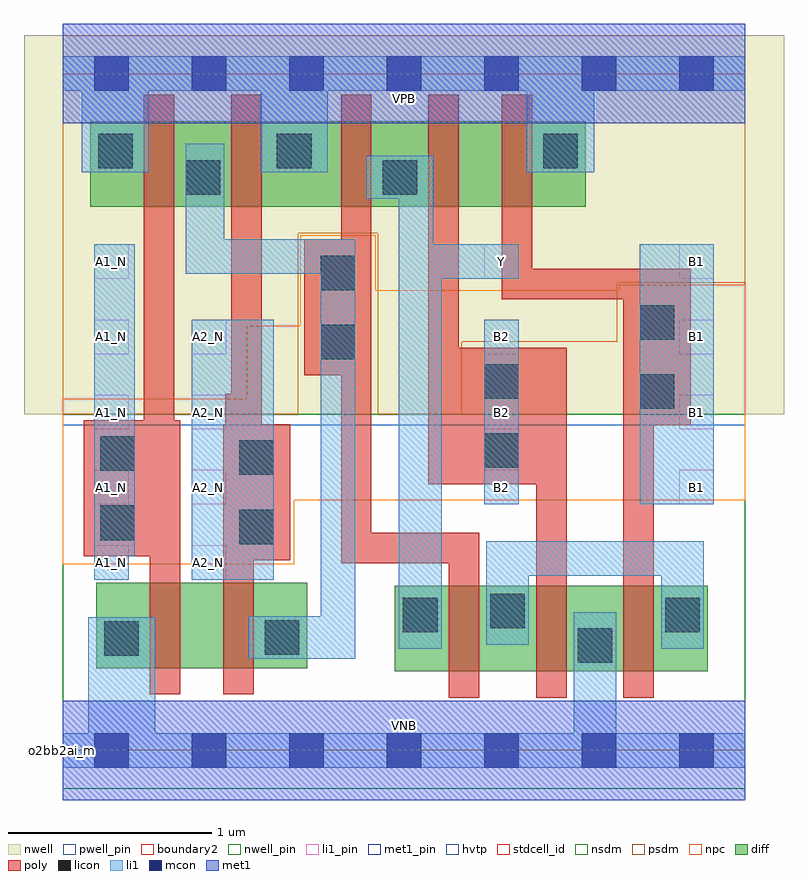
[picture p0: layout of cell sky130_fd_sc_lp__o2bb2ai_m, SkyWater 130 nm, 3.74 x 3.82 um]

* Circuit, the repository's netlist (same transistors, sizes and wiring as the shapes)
* Copyright 2020 The SkyWater PDK Authors
*
* Licensed under the Apache License, Version 2.0 (the "License");
* you may not use this file except in compliance with the License.
* You may obtain a copy of the License at
*
*     https://www.apache.org/licenses/LICENSE-2.0
*
* Unless required by applicable law or agreed to in writing, software
* distributed under the License is distributed on an "AS IS" BASIS,
* WITHOUT WARRANTIES OR CONDITIONS OF ANY KIND, either express or implied.
* See the License for the specific language governing permissions and
* limitations under the License.
*
* SPDX-License-Identifier: Apache-2.0

.SUBCKT sky130_fd_sc_lp__o2bb2ai_m A1_N A2_N B1 B2 VGND VNB VPB VPWR Y
*.PININFO A1_N:I A2_N:I B1:I B2:I VGND:I VNB:I VPB:I VPWR:I Y:O
MMNnand0 VGND A1_N sndNA1N VNB sky130_fd_pr__nfet_01v8 m=1 w=0.42U l=0.15U mult=1
+ sa=0.265 sb=0.265 sd=0.28 area=0.063 perim=1.14
MMNnand1 sndNA1N A2_N inand VNB sky130_fd_pr__nfet_01v8 m=1 w=0.42U l=0.15U mult=1
+ sa=0.265 sb=0.265 sd=0.28 area=0.063 perim=1.14
MMNaoi10 nmid B1 VGND VNB sky130_fd_pr__nfet_01v8 m=1 w=0.42U l=0.15U mult=1 sa=0.265
+ sb=0.265 sd=0.28 area=0.063 perim=1.14
MMNaoi11 nmid B2 VGND VNB sky130_fd_pr__nfet_01v8 m=1 w=0.42U l=0.15U mult=1 sa=0.265
+ sb=0.265 sd=0.28 area=0.063 perim=1.14
MMNaoi20 Y inand nmid VNB sky130_fd_pr__nfet_01v8 m=1 w=0.42U l=0.15U mult=1 sa=0.265
+ sb=0.265 sd=0.28 area=0.063 perim=1.14
MMPnand0 inand A1_N VPWR VPB sky130_fd_pr__pfet_01v8_hvt m=1 w=0.42U l=0.15U mult=1
+ sa=0.265 sb=0.265 sd=0.28 area=0.063 perim=1.14
MMPnand1 inand A2_N VPWR VPB sky130_fd_pr__pfet_01v8_hvt m=1 w=0.42U l=0.15U mult=1
+ sa=0.265 sb=0.265 sd=0.28 area=0.063 perim=1.14
MMPaoi10 VPWR B1 sndPB1 VPB sky130_fd_pr__pfet_01v8_hvt m=1 w=0.42U l=0.15U mult=1
+ sa=0.265 sb=0.265 sd=0.28 area=0.063 perim=1.14
MMPaoi11 sndPB1 B2 Y VPB sky130_fd_pr__pfet_01v8_hvt m=1 w=0.42U l=0.15U mult=1
+ sa=0.265 sb=0.265 sd=0.28 area=0.063 perim=1.14
MMPaoi20 Y inand VPWR VPB sky130_fd_pr__pfet_01v8_hvt m=1 w=0.42U l=0.15U mult=1
+ sa=0.265 sb=0.265 sd=0.28 area=0.063 perim=1.14
.ENDS sky130_fd_sc_lp__o2bb2ai_m

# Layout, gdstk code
import gdstk
lib = gdstk.Library(unit=1e-6, precision=1e-09)
def R(c, l, rs):  # rectangles x0, y0, x1, y1
    for r in rs: c.add(gdstk.rectangle(r[:2], r[2:], *l))
def A(c, l, x, y, w, h, nx, ny, dx, dy):  # array of equal rectangles
    R(c, l, [(x+i*dx, y+j*dy, x+i*dx+w, y+j*dy+h) for i in range(nx) for j in range(ny)])
def P(c, l, *ps):  # polygons
    for p in ps: c.add(gdstk.Polygon(p, *l))
nwell_pin = (64, 16)
nwell = (64, 20)
diff = (65, 20)
poly = (66, 20)
licon = (66, 44)
li1_pin = (67, 16)
li1 = (67, 20)
mcon = (67, 44)
met1_pin = (68, 16)
met1 = (68, 20)
hvtp = (78, 44)
stdcell_id = (81, 4)
nsdm = (93, 44)
psdm = (94, 20)
npc = (95, 20)
pwell_pin = (122, 16)
boundary2 = (236, 0)

sky130_fd_sc_lp__o2bb2ai = lib.new_cell('sky130_fd_sc_lp__o2bb2ai_m')
R(sky130_fd_sc_lp__o2bb2ai, nwell_pin, [(0,3.085,3.36,3.33)])
R(sky130_fd_sc_lp__o2bb2ai, nwell, [(-0.19,1.655,3.55,3.52)])
R(sky130_fd_sc_lp__o2bb2ai, diff, [(1.635,0.39,3.175,0.81), (0.165,0.405,1.205,0.825), (0.135,2.675,2.575,3.095)])
P(sky130_fd_sc_lp__o2bb2ai, poly, [(0.58,1.625),(0.55,1.625),(0.55,3.225),(0.4,3.225),(0.4,1.625),(0.105,1.625),(0.105,0.955),(0.43,0.955),(0.43,0.275),(0.58,0.275)],
  [(1.12,1.605),(0.98,1.605),(0.98,3.225),(0.83,3.225),(0.83,1.755),(0.8,1.755),(0.8,1.605),(0.79,1.605),(0.79,0.275),(0.94,0.275),(0.94,0.935),(1.12,0.935)],
  [(2.05,1.07),(1.52,1.07),(1.52,3.225),(1.37,3.225),(1.37,2.515),(1.19,2.515),(1.19,1.845),(1.37,1.845),(1.37,0.92),(1.9,0.92),(1.9,0.26),(2.05,0.26)],
  [(2.48,1.98),(1.95,1.98),(1.95,3.225),(1.8,3.225),(1.8,1.31),(2.33,1.31),(2.33,0.26),(2.48,0.26)],
  [(3.09,2.37),(2.31,2.37),(2.31,3.225),(2.16,3.225),(2.16,2.22),(2.76,2.22),(2.76,0.26),(2.91,0.26),(2.91,1.6),(3.09,1.6)])
R(sky130_fd_sc_lp__o2bb2ai, licon, [(2.535,0.43,2.705,0.6), (0.205,0.465,0.375,0.635), (0.995,0.47,1.165,0.64), (1.675,0.58,1.845,0.75), (2.965,0.58,3.135,0.75), (2.105,0.6,2.275,0.77), (0.87,1.015,1.04,1.185), (0.185,1.035,0.355,1.205), (0.87,1.355,1.04,1.525), (0.185,1.375,0.355,1.545), (2.075,1.39,2.245,1.56), (2.84,1.68,3.01,1.85), (2.075,1.73,2.245,1.9), (1.27,1.925,1.44,2.095), (2.84,2.02,3.01,2.19), (1.27,2.265,1.44,2.435), (0.605,2.735,0.775,2.905), (1.575,2.735,1.745,2.905), (0.175,2.865,0.345,3.035), (1.055,2.865,1.225,3.035), (2.365,2.865,2.535,3.035)])
A(sky130_fd_sc_lp__o2bb2ai, li1_pin, 0.155, 0.84, 0.17, 0.17, 1, 5, 0, 0.37)
A(sky130_fd_sc_lp__o2bb2ai, li1_pin, 0.635, 0.84, 0.17, 0.17, 1, 4, 0, 0.37)
A(sky130_fd_sc_lp__o2bb2ai, li1_pin, 2.075, 1.21, 0.17, 0.17, 1, 4, 0, 0.37)
A(sky130_fd_sc_lp__o2bb2ai, li1_pin, 3.035, 1.21, 0.17, 0.17, 1, 4, 0, 0.37)
R(sky130_fd_sc_lp__o2bb2ai, li1, [(0.635,0.84,1.04,2.12), (2.075,1.21,2.245,2.12), (2.84,1.21,3.205,2.49)])
P(sky130_fd_sc_lp__o2bb2ai, li1, [(2.285,2.845),(2.285,3.245),(1.305,3.245),(1.305,2.845),(0.975,2.845),(0.975,3.245),(0.425,3.245),(0.425,2.845),(0.095,2.845),(0.095,3.245),(0,3.245),(0,3.415),(3.36,3.415),(3.36,3.245),(2.615,3.245),(2.615,2.845)],
  [(0.125,0.085),(0.125,0.655),(0.455,0.655),(0.455,0.085),(2.515,0.085),(2.515,0.68),(2.725,0.68),(2.725,0.085),(3.36,0.085),(3.36,-0.085),(0,-0.085),(0,0.085)],
  [(0.605,2.985),(0.795,2.985),(0.795,2.515),(1.44,2.515),(1.44,0.45),(0.915,0.45),(0.915,0.66),(1.27,0.66),(1.27,2.345),(0.605,2.345)],
  [(1.655,2.715),(1.495,2.715),(1.495,2.925),(1.825,2.925),(1.825,2.49),(2.245,2.49),(2.245,2.32),(1.865,2.32),(1.865,0.5),(1.655,0.5)],
  [(2.945,0.5),(2.945,0.86),(2.295,0.86),(2.295,0.52),(2.085,0.52),(2.085,1.03),(3.155,1.03),(3.155,0.5)],
  [(0.155,0.84),(0.155,2.49),(0.355,2.49),(0.355,0.955),(0.325,0.955),(0.325,0.84)])
A(sky130_fd_sc_lp__o2bb2ai, mcon, 0.155, -0.085, 0.17, 0.17, 7, 2, 0.48, 3.33)
R(sky130_fd_sc_lp__o2bb2ai, met1_pin, [(0,0,3.36,0.245), (0,3.085,3.36,3.33)])
R(sky130_fd_sc_lp__o2bb2ai, met1, [(0,-0.245,3.36,0.245), (0,3.085,3.36,3.575)])
R(sky130_fd_sc_lp__o2bb2ai, hvtp, [(0,1.6,3.36,3.33)])
R(sky130_fd_sc_lp__o2bb2ai, stdcell_id, [(0,0,3.36,3.33)])
R(sky130_fd_sc_lp__o2bb2ai, nsdm, [(0,-0.19,3.36,1.655)])
P(sky130_fd_sc_lp__o2bb2ai, psdm, [(3.36,3.52),(0,3.52),(0,1.655),(1.16,1.655),(1.16,2.545),(1.55,2.545),(1.55,1.655),(1.965,1.655),(1.965,2.01),(2.73,2.01),(2.73,2.3),(3.36,2.3)])
P(sky130_fd_sc_lp__o2bb2ai, npc, [(3.36,2.29),(2.74,2.29),(2.74,2.265),(1.54,2.265),(1.54,2.535),(1.17,2.535),(1.17,2.09),(0.905,2.09),(0.905,1.73),(0,1.73),(0,0.915),(1.14,0.915),(1.14,1.23),(3.36,1.23)])
R(sky130_fd_sc_lp__o2bb2ai, pwell_pin, [(0,0,3.36,0.245)])
R(sky130_fd_sc_lp__o2bb2ai, boundary2, [(0,0,3.36,3.33)])
sky130_fd_sc_lp__o2bb2ai.add(gdstk.Label('VNB', (1.68,0.123), layer=64, texttype=59))
sky130_fd_sc_lp__o2bb2ai.add(gdstk.Label('VPB', (1.68,3.208), layer=64, texttype=5))
sky130_fd_sc_lp__o2bb2ai.add(gdstk.Label('o2bb2ai_m', (0,0), layer=83, texttype=44))
sky130_fd_sc_lp__o2bb2ai.add(gdstk.Label('VPWR', (1.68,3.208), layer=68, texttype=5))
sky130_fd_sc_lp__o2bb2ai.add(gdstk.Label('VGND', (1.68,0.123), layer=68, texttype=5))
sky130_fd_sc_lp__o2bb2ai.add(gdstk.Label('Y', (2.16,2.405), layer=67, texttype=5))
sky130_fd_sc_lp__o2bb2ai.add(gdstk.Label('B2', (2.16,1.295), layer=67, texttype=5))
sky130_fd_sc_lp__o2bb2ai.add(gdstk.Label('B2', (2.16,1.665), layer=67, texttype=5))
sky130_fd_sc_lp__o2bb2ai.add(gdstk.Label('B2', (2.16,2.035), layer=67, texttype=5))
sky130_fd_sc_lp__o2bb2ai.add(gdstk.Label('A1_N', (0.24,0.925), layer=67, texttype=5))
sky130_fd_sc_lp__o2bb2ai.add(gdstk.Label('A1_N', (0.24,1.295), layer=67, texttype=5))
sky130_fd_sc_lp__o2bb2ai.add(gdstk.Label('A1_N', (0.24,1.665), layer=67, texttype=5))
sky130_fd_sc_lp__o2bb2ai.add(gdstk.Label('A1_N', (0.24,2.035), layer=67, texttype=5))
sky130_fd_sc_lp__o2bb2ai.add(gdstk.Label('A1_N', (0.24,2.405), layer=67, texttype=5))
sky130_fd_sc_lp__o2bb2ai.add(gdstk.Label('A2_N', (0.72,0.925), layer=67, texttype=5))
sky130_fd_sc_lp__o2bb2ai.add(gdstk.Label('A2_N', (0.72,1.295), layer=67, texttype=5))
sky130_fd_sc_lp__o2bb2ai.add(gdstk.Label('A2_N', (0.72,1.665), layer=67, texttype=5))
sky130_fd_sc_lp__o2bb2ai.add(gdstk.Label('A2_N', (0.72,2.035), layer=67, texttype=5))
sky130_fd_sc_lp__o2bb2ai.add(gdstk.Label('B1', (3.12,1.295), layer=67, texttype=5))
sky130_fd_sc_lp__o2bb2ai.add(gdstk.Label('B1', (3.12,1.665), layer=67, texttype=5))
sky130_fd_sc_lp__o2bb2ai.add(gdstk.Label('B1', (3.12,2.035), layer=67, texttype=5))
sky130_fd_sc_lp__o2bb2ai.add(gdstk.Label('B1', (3.12,2.405), layer=67, texttype=5))

lib.write_gds('sky130_fd_sc_lp__o2bb2ai_m.gds')
